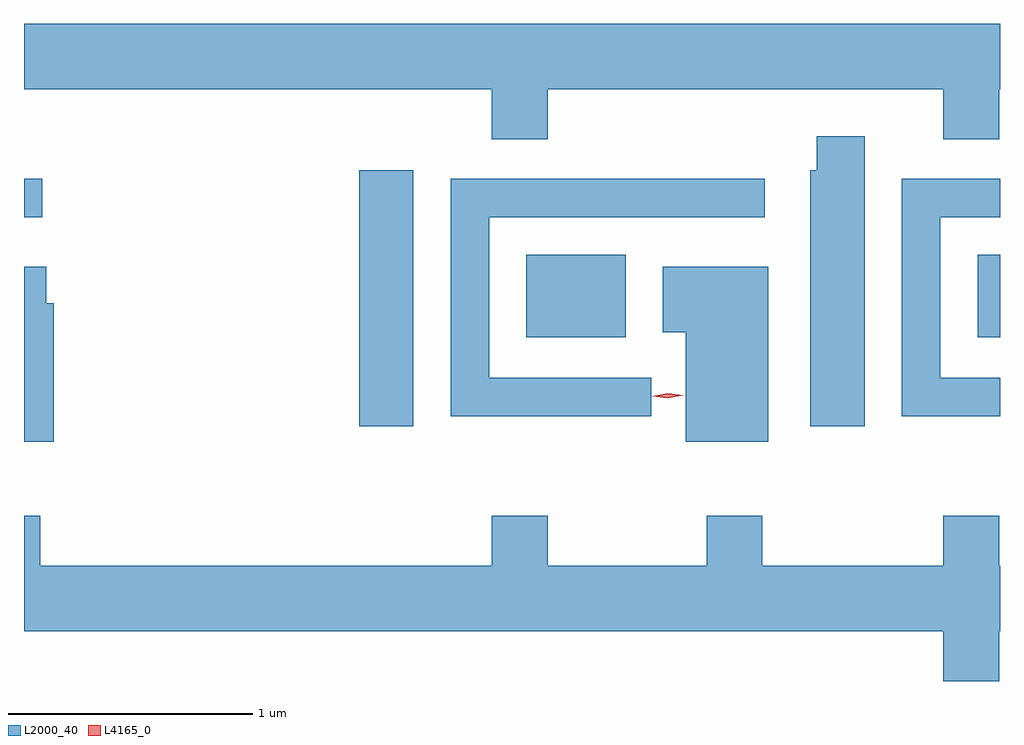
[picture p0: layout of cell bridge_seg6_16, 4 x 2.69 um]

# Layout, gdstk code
import gdstk
lib = gdstk.Library(unit=1e-6, precision=1e-09)
def R(c, l, rs):  # rectangles x0, y0, x1, y1
    for r in rs: c.add(gdstk.rectangle(r[:2], r[2:], *l))
def P(c, l, *ps):  # polygons
    for p in ps: c.add(gdstk.Polygon(p, *l))
L2000_40 = (2000, 40)
L4165_0 = (4165, 0)

bridge_seg6_16 = lib.new_cell('bridge_seg6_16')
R(bridge_seg6_16, L2000_40, [(1449.986,1608.596,1450.209,1609.644), (1450.671,1608.961,1451.079,1609.299), (1452.521,1608.961,1452.613,1609.299), (1448.613,1609.451,1448.688,1609.609)])
P(bridge_seg6_16, L2000_40, [(1450.759,1609.976),(1452.381,1609.976),(1452.381,1609.771),(1452.609,1609.771),(1452.609,1609.976),(1452.613,1609.976),(1452.613,1610.244),(1448.613,1610.244),(1448.613,1609.976),(1450.531,1609.976),(1450.531,1609.771),(1450.759,1609.771)],
  [(1452.059,1609.784),(1451.861,1609.784),(1451.861,1609.644),(1451.836,1609.644),(1451.836,1608.596),(1452.059,1608.596)],
  [(1451.183,1608.794),(1450.519,1608.794),(1450.519,1609.451),(1451.648,1609.451),(1451.648,1609.609),(1450.361,1609.609),(1450.361,1608.636),(1451.183,1608.636)],
  [(1452.613,1608.794),(1452.369,1608.794),(1452.369,1609.451),(1452.613,1609.451),(1452.613,1609.609),(1452.211,1609.609),(1452.211,1608.636),(1452.613,1608.636)],
  [(1451.664,1609.249),(1451.231,1609.249),(1451.231,1608.981),(1451.326,1608.981),(1451.326,1608.531),(1451.664,1608.531)],
  [(1448.734,1609.099),(1448.704,1609.099),(1448.704,1609.249),(1448.613,1609.249),(1448.613,1608.531),(1448.734,1608.531)],
  [(1452.609,1607.756),(1452.613,1607.756),(1452.613,1608.024),(1452.609,1608.024),(1452.609,1608.229),(1452.381,1608.229),(1452.381,1608.024),(1451.639,1608.024),(1451.639,1608.229),(1451.411,1608.229),(1451.411,1608.024),(1450.759,1608.024),(1450.759,1608.229),(1450.531,1608.229),(1450.531,1608.024),(1448.679,1608.024),(1448.679,1608.229),(1448.613,1608.229),(1448.613,1607.756),(1452.381,1607.756),(1452.381,1607.551),(1452.609,1607.551)])
P(bridge_seg6_16, L4165_0, [(1451.252,1608.71),(1451.188,1608.718),(1451.188,1608.719),(1451.188,1608.719),(1451.252,1608.73),(1451.315,1608.722),(1451.316,1608.722),(1451.315,1608.722)])

lib.write_gds('bridge_seg6_16.gds')
